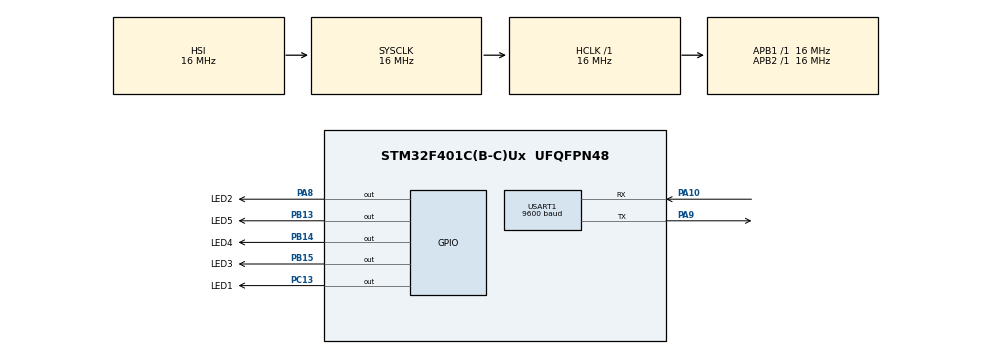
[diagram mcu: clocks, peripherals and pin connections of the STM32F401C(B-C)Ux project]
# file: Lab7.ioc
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Mcu.Family=STM32F4
Mcu.Name=STM32F401C(B-C)Ux
Mcu.Package=UFQFPN48
NVIC.PriorityGroup=NVIC_PRIORITYGROUP_4
NVIC.USART1_IRQn=true\:0\:0\:false\:true\:true\:1\:true\:true\:true
PA10.Mode=Asynchronous
PA10.Signal=USART1_RX
PA8.GPIO_Label=LED2
PA8.Signal=GPIO_Output
PA9.Mode=Asynchronous
PA9.Signal=USART1_TX
PB13.GPIO_Label=LED5
PB13.Signal=GPIO_Output
PB14.GPIO_Label=LED4
PB14.Signal=GPIO_Output
PB15.GPIO_Label=LED3
PB15.Signal=GPIO_Output
PC13-ANTI_TAMP.GPIO_Label=LED1
PC13-ANTI_TAMP.Signal=GPIO_Output
ProjectManager.HeapSize=0x200
ProjectManager.StackSize=0x400
ProjectManager.TargetToolchain=STM32CubeIDE
RCC.AHBFreq_Value=16000000
RCC.APB1Freq_Value=16000000
RCC.APB2Freq_Value=16000000
RCC.CortexFreq_Value=16000000
RCC.HSE_VALUE=25000000
RCC.HSI_VALUE=16000000
RCC.LSE_VALUE=32768
RCC.SYSCLKFreq_VALUE=16000000
RCC.VCOOutputFreq_Value=192000000
USART1.BaudRate=9600
USART1.VirtualMode=VM_ASYNC
board=custom

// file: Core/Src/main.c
/* USER CODE BEGIN Header */
/**
  ******************************************************************************
  * @file           : main.c
  * @brief          : Main program body
  ******************************************************************************
  * @attention
  *
  * Copyright (c) 2022 STMicroelectronics.
  * All rights reserved.
  *
  * This software is licensed under terms that can be found in the LICENSE file
  * in the root directory of this software component.
  * If no LICENSE file comes with this software, it is provided AS-IS.
  *
  ******************************************************************************
  */
/* USER CODE END Header */
#include "main.h"

/* USER CODE BEGIN Includes */
#include <stdbool.h>
/* USER CODE END Includes */

UART_HandleTypeDef huart1;

/* USER CODE BEGIN PV */
uint8_t str[1];
bool RxCompleted = false;
bool TxCompleted = true;
bool flag_On = false;
/* USER CODE END PV */

void SystemClock_Config(void);
static void MX_GPIO_Init(void);
static void MX_USART1_UART_Init(void);
static void MX_NVIC_Init(void);

int main(void)
{

  /* MCU Configuration--------------------------------------------------------*/

  /* Reset of all peripherals, Initializes the Flash interface and the Systick. */
  HAL_Init();

  /* Configure the system clock */
  SystemClock_Config();

  /* Initialize all configured peripherals */
  MX_GPIO_Init();
  MX_USART1_UART_Init();

  /* Initialize interrupts */
  MX_NVIC_Init();
  /* USER CODE BEGIN 2 */
  HAL_UART_Receive_IT(&huart1, str, 1);
  /* USER CODE END 2 */

  /* Infinite loop */
  /* USER CODE BEGIN WHILE */
  while (1)
  {
	  if (str[0] == '1' && flag_On == true)
	  {
		  HAL_GPIO_TogglePin(LED1_GPIO_Port, LED1_Pin);
		  flag_On = false;
	  }

	  if (str[0] == '2' && flag_On == true)
	  {
		  HAL_GPIO_TogglePin(LED2_GPIO_Port, LED2_Pin);
		  flag_On = false;
	  }

	  if (str[0] == '3' && flag_On == true)
	  {
		  HAL_GPIO_TogglePin(LED3_GPIO_Port, LED3_Pin);
		  flag_On = false;
	  }

	  if (str[0] == '4' && flag_On == true)
	  {
		  HAL_GPIO_TogglePin(LED4_GPIO_Port, LED4_Pin);
		  flag_On = false;
	  }

	  if (str[0] == 'a' && flag_On == true)
	  {
		  HAL_GPIO_TogglePin(LED5_GPIO_Port, LED5_Pin);
		  flag_On = false;
	  }

	  //if (str[0] == '1') HAL_GPIO_WritePin(LED1_GPIO_Port, LED1_Pin, GPIO_PIN_SET);
    /* USER CODE END WHILE */

  }
}

void SystemClock_Config(void)
{
  RCC_OscInitTypeDef RCC_OscInitStruct = {0};
  RCC_ClkInitTypeDef RCC_ClkInitStruct = {0};

  /** Configure the main internal regulator output voltage
  */
  __HAL_RCC_PWR_CLK_ENABLE();
  __HAL_PWR_VOLTAGESCALING_CONFIG(PWR_REGULATOR_VOLTAGE_SCALE2);

  /** Initializes the RCC Oscillators according to the specified parameters
  * in the RCC_OscInitTypeDef structure.
  */
  RCC_OscInitStruct.OscillatorType = RCC_OSCILLATORTYPE_HSI;
  RCC_OscInitStruct.HSIState = RCC_HSI_ON;
  RCC_OscInitStruct.HSICalibrationValue = RCC_HSICALIBRATION_DEFAULT;
  RCC_OscInitStruct.PLL.PLLState = RCC_PLL_NONE;
  if (HAL_RCC_OscConfig(&RCC_OscInitStruct) != HAL_OK)
  {
    Error_Handler();
  }

  /** Initializes the CPU, AHB and APB buses clocks
  */
  RCC_ClkInitStruct.ClockType = RCC_CLOCKTYPE_HCLK|RCC_CLOCKTYPE_SYSCLK
                              |RCC_CLOCKTYPE_PCLK1|RCC_CLOCKTYPE_PCLK2;
  RCC_ClkInitStruct.SYSCLKSource = RCC_SYSCLKSOURCE_HSI;
  RCC_ClkInitStruct.AHBCLKDivider = RCC_SYSCLK_DIV1;
  RCC_ClkInitStruct.APB1CLKDivider = RCC_HCLK_DIV1;
  RCC_ClkInitStruct.APB2CLKDivider = RCC_HCLK_DIV1;

  if (HAL_RCC_ClockConfig(&RCC_ClkInitStruct, FLASH_LATENCY_0) != HAL_OK)
  {
    Error_Handler();
  }
}

/**
  * @brief NVIC Configuration.
  * @retval None
  */
static void MX_NVIC_Init(void)
{
  /* USART1_IRQn interrupt configuration */
  HAL_NVIC_SetPriority(USART1_IRQn, 0, 0);
  HAL_NVIC_EnableIRQ(USART1_IRQn);
}

static void MX_USART1_UART_Init(void)
{

  huart1.Instance = USART1;
  huart1.Init.BaudRate = 9600;
  huart1.Init.WordLength = UART_WORDLENGTH_8B;
  huart1.Init.StopBits = UART_STOPBITS_1;
  huart1.Init.Parity = UART_PARITY_NONE;
  huart1.Init.Mode = UART_MODE_TX_RX;
  huart1.Init.HwFlowCtl = UART_HWCONTROL_NONE;
  huart1.Init.OverSampling = UART_OVERSAMPLING_16;
  if (HAL_UART_Init(&huart1) != HAL_OK)
  {
    Error_Handler();
  }

}

static void MX_GPIO_Init(void)
{
  GPIO_InitTypeDef GPIO_InitStruct = {0};

  /* GPIO Ports Clock Enable */
  __HAL_RCC_GPIOC_CLK_ENABLE();
  __HAL_RCC_GPIOB_CLK_ENABLE();
  __HAL_RCC_GPIOA_CLK_ENABLE();

  /*Configure GPIO pin Output Level */
  HAL_GPIO_WritePin(LED1_GPIO_Port, LED1_Pin, GPIO_PIN_RESET);

  /*Configure GPIO pin Output Level */
  HAL_GPIO_WritePin(GPIOB, LED5_Pin|LED4_Pin|LED3_Pin, GPIO_PIN_RESET);

  /*Configure GPIO pin Output Level */
  HAL_GPIO_WritePin(LED2_GPIO_Port, LED2_Pin, GPIO_PIN_RESET);

  /*Configure GPIO pin : LED1_Pin */
  GPIO_InitStruct.Pin = LED1_Pin;
  GPIO_InitStruct.Mode = GPIO_MODE_OUTPUT_PP;
  GPIO_InitStruct.Pull = GPIO_NOPULL;
  GPIO_InitStruct.Speed = GPIO_SPEED_FREQ_LOW;
  HAL_GPIO_Init(LED1_GPIO_Port, &GPIO_InitStruct);

  /*Configure GPIO pins : LED5_Pin LED4_Pin LED3_Pin */
  GPIO_InitStruct.Pin = LED5_Pin|LED4_Pin|LED3_Pin;
  GPIO_InitStruct.Mode = GPIO_MODE_OUTPUT_PP;
  GPIO_InitStruct.Pull = GPIO_NOPULL;
  GPIO_InitStruct.Speed = GPIO_SPEED_FREQ_LOW;
  HAL_GPIO_Init(GPIOB, &GPIO_InitStruct);

  /*Configure GPIO pin : LED2_Pin */
  GPIO_InitStruct.Pin = LED2_Pin;
  GPIO_InitStruct.Mode = GPIO_MODE_OUTPUT_PP;
  GPIO_InitStruct.Pull = GPIO_NOPULL;
  GPIO_InitStruct.Speed = GPIO_SPEED_FREQ_LOW;
  HAL_GPIO_Init(LED2_GPIO_Port, &GPIO_InitStruct);

}

/* USER CODE BEGIN 4 */
void HAL_UART_RxCpltCallback(UART_HandleTypeDef *huart)
{
	if(huart == &huart1)
	{

		RxCompleted = true;

		if (TxCompleted == true)
		{
			TxCompleted = false;
			HAL_UART_Transmit_IT(&huart1, str, 1);

		}

	}
}

void HAL_UART_TxCpltCallback(UART_HandleTypeDef *huart)
{
	if(huart == &huart1)
	{

		TxCompleted = true;

		if (RxCompleted == true)
		{
			RxCompleted = false;
			HAL_UART_Receive_IT(&huart1, str, 1);
			flag_On = true;
		}
	}
}

/* USER CODE END 4 */

void Error_Handler(void)
{
  __disable_irq();
  while (1)
  {
  }
}
